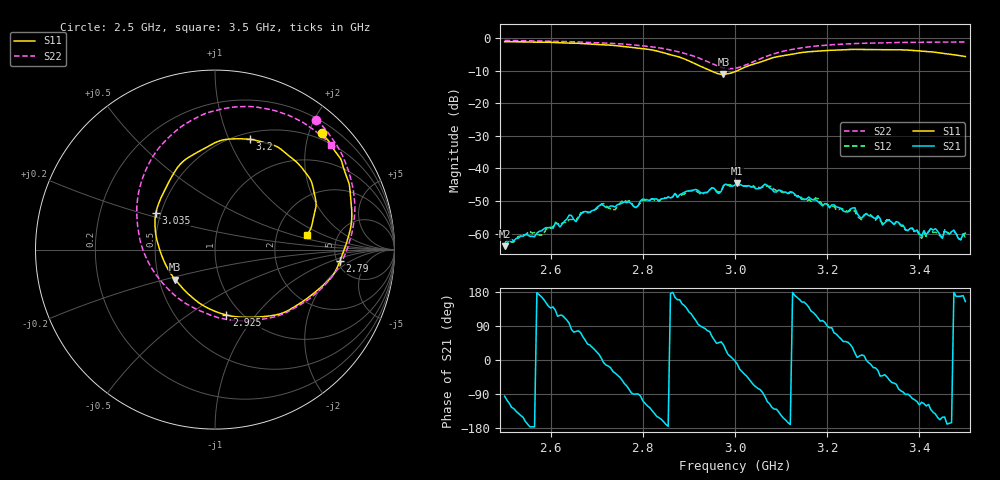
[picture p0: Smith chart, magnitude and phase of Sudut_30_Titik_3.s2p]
# Hz S RI R 50
! CMT, C1220, 16058040, 17.2.0/1
! Date: 15/08/2018 10:39:40
! Data: Format (Calibration Info)
! Freq  S11: Re/Im (F2)  S21: Re/Im (F2)  S12: Re/Im (F2)  S22: Re/Im (F2)
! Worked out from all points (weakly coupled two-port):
!   201 points, 2.5 GHz to 3.5 GHz, reference 50 ohm
!   highest |S21| = -44.49 dB at 3.005 GHz (marker M1); lowest = -63.8 dB at 2.5 GHz (marker M2)
!   lowest |S11| = -11.1 dB at 2.975 GHz (marker M3), VSWR 1.77, Z = 30.4 - j11 ohm
!   |S11| at or under -10 dB: 2.947 GHz to 3.005 GHz (58.19 MHz wide, 1.96 % of centre)
!   |S22| runs from -9.4 to -0.7 dB; largest |S21 - S12| = 0.0005
!   S11 on the Smith chart (normalised r, x): 2.5 GHz: 0.39, +2.22; 2.79 GHz: 5.34, -1.28; 2.925 GHz: 0.85, -0.72; 3.035 GHz: 0.47, +0.23; 3.2 GHz: 0.57, +1.20; 3.5 GHz: 3.00, +0.69
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2.5e9  0.5951 0.6475  -6.07e-05 -0.000641  -5.4e-05 -0.000699  0.5652 0.7242
2.67e9  0.7514 0.3367  0.00105 0.00188  0.00113 0.00178  0.7387 0.4524
2.76e9  0.7381 0.0541  0.00144 -0.00272  0.00151 -0.0029  0.7785 0.2096
2.79e9  0.6971 -0.0611  1.58e-05 -0.00272  -0.000119 -0.00268  0.7654 0.1048
2.835e9  0.5832 -0.2156  -0.00285 -0.0015  -0.00276 -0.00151  0.7043 -0.0703
2.925e9  0.0632 -0.3642  4.34e-05 0.00427  -0.000115 0.00402  0.2935 -0.3828
2.975e9  -0.2214 -0.1676  0.0042 0.00354  0.00413 0.00338  -0.0977 -0.3344
3e9  -0.3048 -0.0114  0.00558 -0.000268  0.00558 -0.000483  -0.272 -0.2088
3.005e9  -0.3146 0.0212  0.00585 -0.00114  0.00559 -0.00122  -0.3007 -0.1765
3.035e9  -0.3295 0.2047  0.00276 -0.00442  0.00285 -0.00439  -0.4171 0.0487
3.105e9  -0.1396 0.5185  -0.00388 -0.00196  -0.00383 -0.00183  -0.3386 0.5301
3.17e9  0.0931 0.6167  -0.0019 0.00269  -0.00214 0.00255  -0.0886 0.7422
3.2e9  0.194 0.6148  5.76e-06 0.00285  0.000166 0.00285  0.0226 0.779
3.26e9  0.3551 0.5677  0.00236 0.000809  0.00212 0.000743  0.2122 0.7961
3.275e9  0.3835 0.5459  0.00168 0.000396  0.00159 0.000409  0.2539 0.7907
3.335e9  0.4943 0.4424  0.000966 -0.00128  0.000885 -0.00136  0.3947 0.7542
3.405e9  0.5571 0.2962  -0.000337 -0.000854  -0.000301 -0.000791  0.5208 0.6872
3.425e9  0.5633 0.2488  -0.00079 -0.000911  -0.000713 -0.000942  0.5507 0.6674
3.45e9  0.5521 0.1941  -0.000744 -0.000411  -0.000724 -0.000465  0.587 0.6388
3.455e9  0.5494 0.181  -0.000959 -0.000541  -0.00099 -0.000578  0.5936 0.6336
3.49e9  0.5248 0.1012  -0.000786 0.000166  -0.000787 0.000195  0.6351 0.5929
3.5e9  0.5144 0.0834  -0.000918 0.000442  -0.000755 0.000428  0.6464 0.5819
